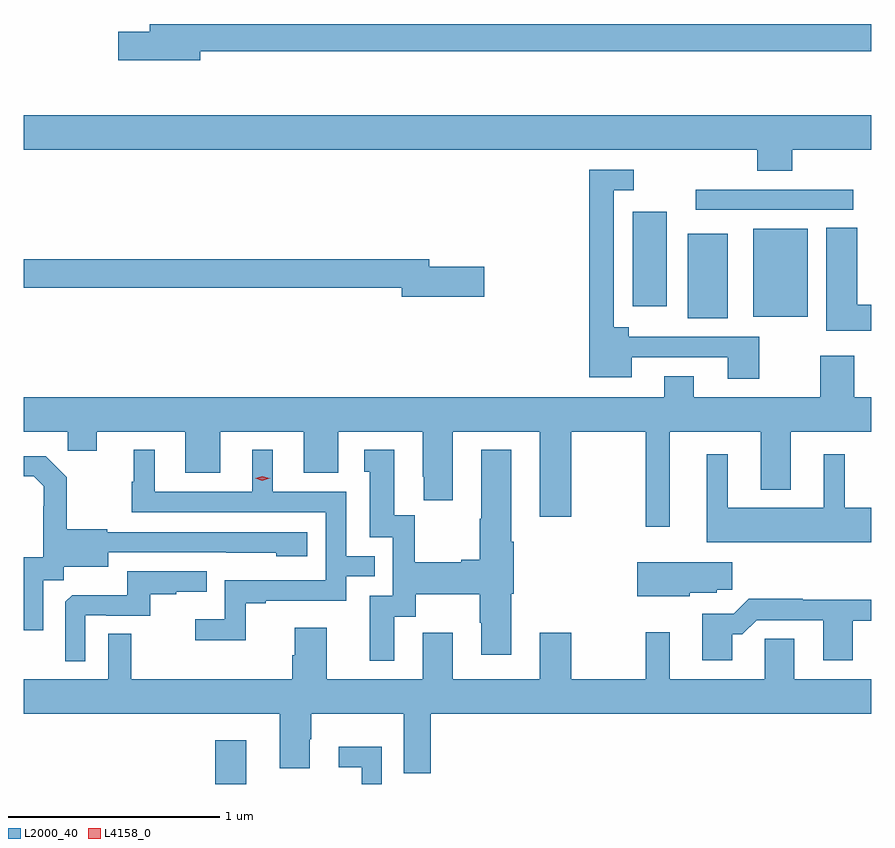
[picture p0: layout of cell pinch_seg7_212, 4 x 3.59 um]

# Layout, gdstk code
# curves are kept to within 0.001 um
import gdstk
lib = gdstk.Library(unit=1e-6, precision=1e-09)
def R(c, l, rs):  # rectangles x0, y0, x1, y1
    for r in rs: c.add(gdstk.rectangle(r[:2], r[2:], *l))
def P(c, l, *ps):  # polygons
    for p in ps: c.add(gdstk.Polygon(p, *l))
L2000_40 = (2000, 40)
L4158_0 = (4158, 0)

pinch_seg7_212 = lib.new_cell('pinch_seg7_212')
R(pinch_seg7_212, L2000_40, [(736.556,1034.917,736.702,1035.124), (738.788,1037.117,738.976,1037.515), (739.097,1037.123,739.354,1037.539), (738.527,1037.172,738.688,1037.62), (738.825,1037.628,739.57,1037.724)])
P(pinch_seg7_212, L2000_40, [(736.486,1038.378),(739.653,1038.378),(739.653,1038.506),(736.247,1038.506),(736.247,1038.47),(736.098,1038.47),(736.098,1038.335),(736.486,1038.335)],
  [(739.28,1037.912),(739.653,1037.912),(739.653,1038.076),(735.653,1038.076),(735.653,1037.912),(739.115,1037.912),(739.115,1037.813),(739.28,1037.813)],
  [(739.125,1037.028),(738.508,1037.028),(738.508,1037.074),(738.438,1037.074),(738.438,1037.721),(738.532,1037.721),(738.532,1037.817),(738.322,1037.817),(738.322,1036.838),(738.523,1036.838),(738.523,1036.932),(738.977,1036.932),(738.977,1036.83),(739.125,1036.83)],
  [(739.653,1037.18),(739.589,1037.18),(739.589,1037.543),(739.442,1037.543),(739.442,1037.057),(739.653,1037.057)],
  [(737.827,1037.36),(737.566,1037.36),(737.566,1037.396),(735.653,1037.396),(735.653,1037.26),(737.438,1037.26),(737.438,1037.218),(737.827,1037.218)],
  [(738.703,1036.58),(739.133,1036.58),(739.133,1036.307),(739.273,1036.307),(739.273,1036.58),(739.653,1036.58),(739.653,1036.744),(739.574,1036.744),(739.574,1036.939),(739.414,1036.939),(739.414,1036.744),(738.817,1036.744),(738.817,1036.843),(738.677,1036.843),(738.677,1036.744),(735.653,1036.744),(735.653,1036.58),(735.859,1036.58),(735.859,1036.49),(735.997,1036.49),(735.997,1036.58),(736.415,1036.58),(736.415,1036.386),(736.579,1036.386),(736.579,1036.58),(736.973,1036.58),(736.973,1036.386),(737.137,1036.386),(737.137,1036.58),(737.537,1036.58),(737.537,1036.369),(737.54,1036.369),(737.54,1036.257),(737.677,1036.257),(737.677,1036.58),(738.089,1036.58),(738.089,1036.179),(738.237,1036.179),(738.237,1036.58),(738.589,1036.58),(738.589,1036.131),(738.703,1036.131)],
  [(736.701,1035.771),(736.795,1035.771),(736.795,1035.783),(737.175,1035.783),(737.175,1035.897),(737.309,1035.897),(737.309,1035.993),(737.175,1035.993),(737.175,1036.296),(736.828,1036.296),(736.828,1036.495),(736.73,1036.495),(736.73,1036.296),(736.27,1036.296),(736.27,1036.495),(736.172,1036.495),(736.172,1036.344),(736.161,1036.344),(736.161,1036.2),(737.079,1036.2),(737.079,1035.879),(736.602,1035.879),(736.602,1035.694),(736.461,1035.694),(736.461,1035.596),(736.701,1035.596)],
  [(737.401,1035.706),(737.503,1035.706),(737.503,1035.812),(737.806,1035.812),(737.806,1035.678),(737.813,1035.678),(737.813,1035.528),(737.953,1035.528),(737.953,1035.816),(737.966,1035.816),(737.966,1036.06),(737.953,1036.06),(737.953,1036.495),(737.813,1036.495),(737.813,1036.169),(737.806,1036.169),(737.806,1035.977),(737.717,1035.977),(737.717,1035.964),(737.499,1035.964),(737.499,1036.187),(737.401,1036.187),(737.401,1036.495),(737.261,1036.495),(737.261,1036.392),(737.285,1036.392),(737.285,1036.083),(737.394,1036.083),(737.394,1035.807),(737.285,1035.807),(737.285,1035.498),(737.401,1035.498)],
  [(739.653,1036.222),(739.528,1036.222),(739.528,1036.474),(739.43,1036.474),(739.43,1036.222),(738.976,1036.222),(738.976,1036.474),(738.878,1036.474),(738.878,1036.058),(739.653,1036.058)],
  [(735.745,1035.88),(735.84,1035.88),(735.84,1035.944),(736.051,1035.944),(736.051,1036.011),(736.845,1036.01),(736.845,1035.992),(736.99,1035.992),(736.99,1036.107),(736.047,1036.107),(736.047,1036.12),(735.855,1036.12),(735.855,1036.365),(735.755,1036.465),(735.653,1036.465),(735.653,1036.371),(735.699,1036.371),(735.746,1036.324),(735.746,1036.229),(735.744,1036.229),(735.744,1035.988),(735.653,1035.988),(735.653,1035.642),(735.745,1035.642)],
  [(738.798,1035.821),(738.924,1035.821),(738.924,1035.835),(738.997,1035.835),(738.997,1035.964),(738.548,1035.964),(738.548,1035.803),(738.798,1035.803)],
  [(735.942,1035.714),(736.042,1035.714),(736.042,1035.711),(736.25,1035.711),(736.25,1035.813),(736.373,1035.813),(736.373,1035.824),(736.517,1035.824),(736.517,1035.921),(736.14,1035.921),(736.14,1035.809),(735.881,1035.809),(735.849,1035.777),(735.849,1035.497),(735.942,1035.497)],
  [(738.997,1035.623),(739.046,1035.623),(739.113,1035.69),(739.427,1035.69),(739.427,1035.501),(739.567,1035.501),(739.567,1035.687),(739.653,1035.687),(739.653,1035.788),(739.331,1035.788),(739.331,1035.791),(739.076,1035.791),(739.005,1035.72),(738.857,1035.72),(738.857,1035.501),(738.997,1035.501)],
  [(737.573,1035.248),(739.653,1035.248),(739.653,1035.412),(739.291,1035.412),(739.291,1035.602),(739.152,1035.602),(739.152,1035.412),(738.703,1035.412),(738.703,1035.634),(738.589,1035.634),(738.589,1035.412),(738.237,1035.412),(738.237,1035.631),(738.089,1035.631),(738.089,1035.412),(737.677,1035.412),(737.677,1035.631),(737.537,1035.631),(737.537,1035.412),(737.083,1035.412),(737.083,1035.655),(736.931,1035.655),(736.931,1035.525),(736.919,1035.525),(736.919,1035.412),(736.159,1035.412),(736.159,1035.626),(736.05,1035.626),(736.05,1035.412),(735.653,1035.412),(735.653,1035.248),(736.862,1035.248),(736.862,1034.991),(737.002,1034.991),(737.002,1035.128),(737.01,1035.128),(737.01,1035.248),(737.447,1035.248),(737.447,1034.967),(737.573,1034.967)],
  [(737.343,1035.094),(737.139,1035.094),(737.139,1034.997),(737.247,1034.997),(737.247,1034.917),(737.343,1034.917)])
P(pinch_seg7_212, L4158_0, [(736.779,1036.35),(736.744,1036.36),(736.743,1036.36),(736.744,1036.361),(736.779,1036.37),(736.814,1036.361),(736.815,1036.36),(736.814,1036.36)])

lib.write_gds('pinch_seg7_212.gds')
